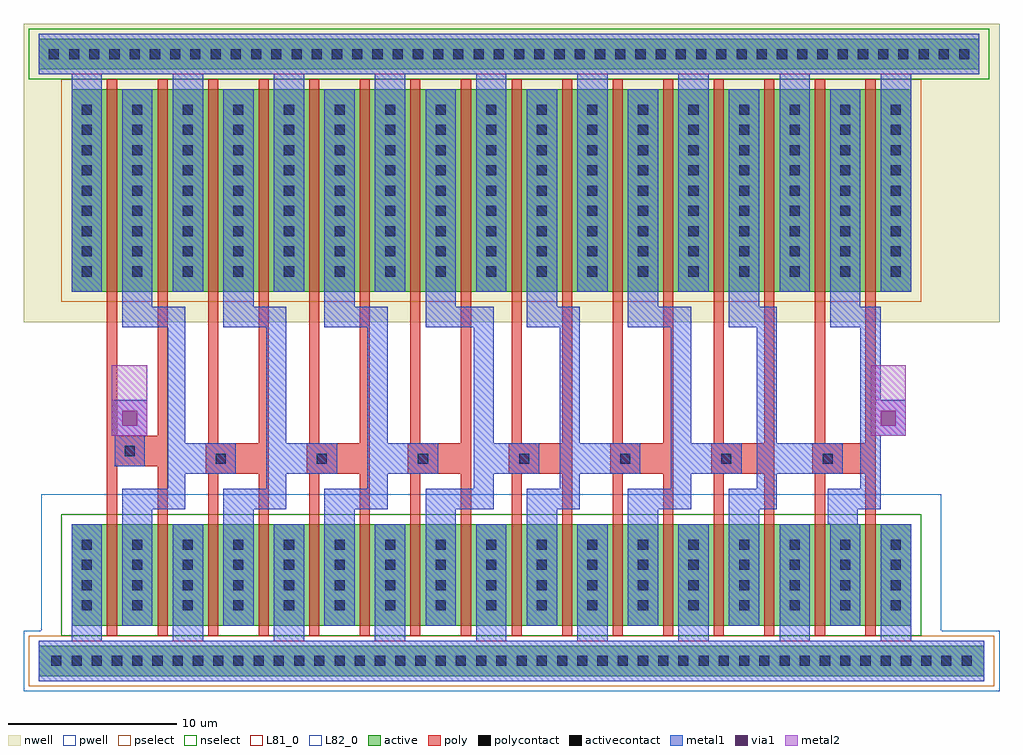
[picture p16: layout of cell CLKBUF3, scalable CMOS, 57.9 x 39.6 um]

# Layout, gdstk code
import gdstk
lib = gdstk.Library(unit=1e-6, precision=1e-09)
def R(c, l, rs):  # rectangles x0, y0, x1, y1
    for r in rs: c.add(gdstk.rectangle(r[:2], r[2:], *l))
def A(c, l, x, y, w, h, nx, ny, dx, dy):  # array of equal rectangles
    R(c, l, [(x+i*dx, y+j*dy, x+i*dx+w, y+j*dy+h) for i in range(nx) for j in range(ny)])
pwell = (41, 0)
nwell = (42, 0)
active = (43, 0)
pselect = (44, 0)
nselect = (45, 0)
poly = (46, 0)
polycontact = (47, 0)
activecontact = (48, 0)
metal1 = (49, 0)
via1 = (50, 0)
metal2 = (51, 0)
L81_0 = (81, 0)
L82_0 = (82, 0)

clkbuf3 = lib.new_cell('CLKBUF3')
R(clkbuf3, pwell, [(-1.8,-1.8,56.1,1.8), (-0.75,1.8,52.65,9.9)])
R(clkbuf3, nwell, [(-1.8,20.1,56.1,37.8)])
R(clkbuf3, active, [(-0.9,-0.9,55.2,0.9), (1.05,2.1,50.85,8.1), (1.05,21.9,50.85,33.9), (-0.9,35.1,54.9,36.9)])
R(clkbuf3, pselect, [(-1.5,-1.5,55.8,1.5), (0.45,21.3,51.45,34.5)])
R(clkbuf3, nselect, [(0.45,1.5,51.45,8.7), (-1.5,34.5,55.5,37.5)])
A(clkbuf3, poly, 9.15, 1.5, 0.6, 9.6, 14, 1, 3, 0)
A(clkbuf3, poly, 9, 11.1, 3.75, 1.8, 7, 1, 6, 0)
A(clkbuf3, poly, 9.15, 12.9, 0.6, 21.6, 14, 1, 3, 0)
R(clkbuf3, poly, [(3.15,1.5,3.75,11.55), (6.15,1.5,6.75,11.55), (3.15,11.55,6.75,13.35), (3.15,13.35,3.75,34.5), (6.15,13.35,6.75,34.5)])
A(clkbuf3, polycontact, 9.6, 11.7, 0.6, 0.6, 7, 1, 6, 0)
R(clkbuf3, polycontact, [(4.2,12.15,4.8,12.75)])
A(clkbuf3, activecontact, -0.15, -0.3, 0.6, 0.6, 46, 1, 1.2, 0)
A(clkbuf3, activecontact, 1.65, 3, 0.6, 0.6, 17, 4, 3, 1.2)
A(clkbuf3, activecontact, 1.65, 22.8, 0.6, 0.6, 17, 9, 3, 1.2)
A(clkbuf3, activecontact, -0.3, 35.7, 0.6, 0.6, 46, 1, 1.2, 0)
A(clkbuf3, metal1, 1.05, 1.2, 1.8, 6.9, 9, 1, 6, 0)
A(clkbuf3, metal1, 4.05, 2.1, 1.8, 6.9, 7, 1, 6, 0)
A(clkbuf3, metal1, 4.05, 9, 3.75, 1.2, 3, 2, 6, 10.8)
A(clkbuf3, metal1, 4.05, 21, 1.8, 12.9, 8, 1, 6, 0)
A(clkbuf3, metal1, 1.05, 21.9, 1.8, 12.9, 9, 1, 6, 0)
R(clkbuf3, metal1, [(-0.9,-1.2,55.2,1.2), (46.05,2.1,47.85,8.1), (45.9,8.1,47.7,9), (22.05,9,26.1,10.2), (28.05,9,31.2,10.2), (34.05,9,37.8,10.2), (40.05,9,42.9,10.2), (45.9,9,49.05,10.2), (6.75,10.2,7.8,11.1), (12.6,10.2,13.8,11.1), (18.6,10.2,19.8,11.1), (24.9,10.2,26.1,11.1), (30,10.2,31.2,11.1), (36.6,10.2,37.8,11.1), (41.7,10.2,42.9,11.1), (47.85,10.2,49.05,13.35), (6.75,11.1,10.8,12.9), (12.6,11.1,16.8,12.9), (18.6,11.1,22.8,12.9), (24.9,11.1,28.8,12.9), (30,11.1,34.8,12.9), (36.6,11.1,40.8,12.9), (41.7,11.1,46.8,12.9), (3.6,11.55,5.4,13.35), (6.75,12.9,7.8,19.8), (12.6,12.9,13.8,19.8), (18.6,12.9,19.8,19.8), (24.9,12.9,26.1,19.8), (30,12.9,31.2,19.8), (36.6,12.9,37.8,19.8), (41.7,12.9,42.9,19.8), (3.45,13.35,5.55,15.45), (47.85,13.35,50.55,15.45), (47.85,15.45,49.05,19.8), (22.05,19.8,26.1,21), (28.05,19.8,31.2,21), (34.05,19.8,37.8,21), (40.05,19.8,42.9,21), (46.05,19.8,49.05,21), (-0.9,34.8,54.9,37.2)])
R(clkbuf3, via1, [(4.05,13.95,4.95,14.85), (49.05,13.95,49.95,14.85)])
R(clkbuf3, metal2, [(3.45,13.35,5.55,17.55), (48.45,13.35,50.55,17.55)])
R(clkbuf3, L81_0, [(-0.9,-1.2,55.2,1.2), (-0.9,34.8,54.9,37.2)])
R(clkbuf3, L82_0, [(3.45,15.45,5.55,17.55), (48.45,15.45,50.55,17.55)])

lib.write_gds('CLKBUF3.gds')
